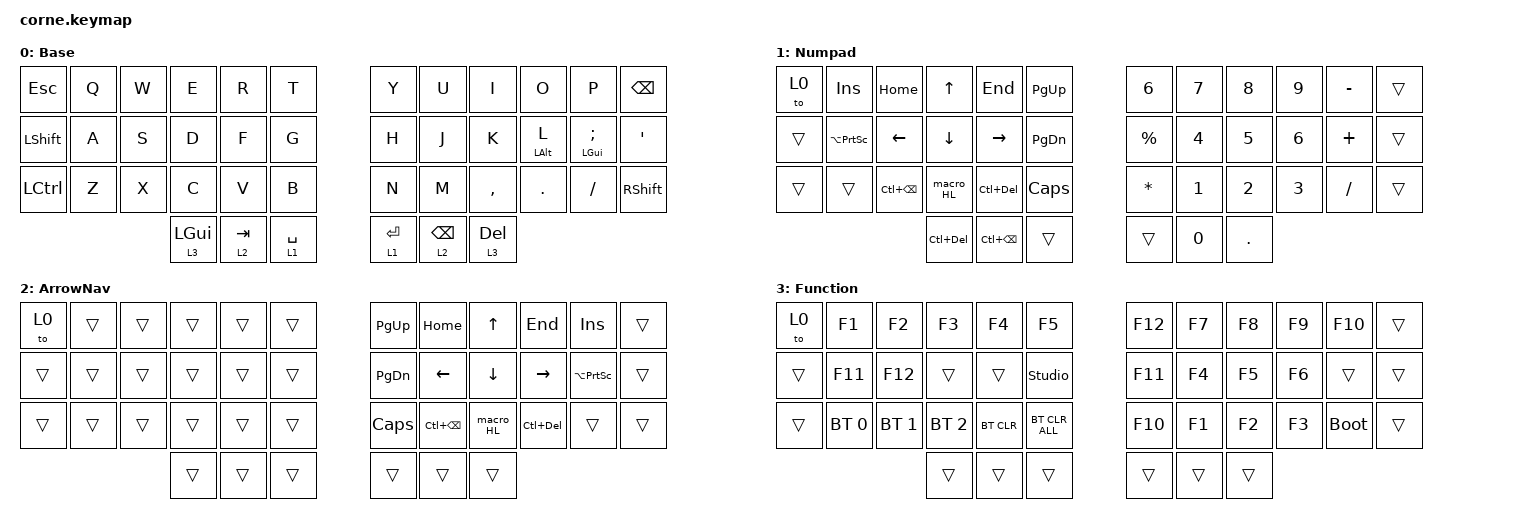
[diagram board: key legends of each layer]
#include <behaviors.dtsi>
#include <dt-bindings/zmk/bt.h>
#include <dt-bindings/zmk/keys.h>

#define DEF 0
#define NAV 1
#define SYM 2
#define ADJ 3
#define EXTRA 4

/ {
    behaviors {
        hm: homerow_mods {
            compatible = "zmk,behavior-hold-tap";
            label = "HOMEROW_MODS";
            #binding-cells = <2>;
            tapping-term-ms = <200>;
            quick_tap_ms = <0>;
            flavor = "tap-preferred";
            bindings = <&kp>, <&kp>;

            quick-tap-ms = <180>;
            global-quick-tap;
        };

        para: para {
            compatible = "zmk,behavior-tap-dance";
            label = "PARA";
            #binding-cells = <0>;
            bindings = <&kp LEFT_PARENTHESIS>, <&kp RIGHT_PARENTHESIS>;
        };

        caps: caps {
            compatible = "zmk,behavior-caps-word";
            label = "CAPS";
            #binding-cells = <0>;
            continue-list = <MINUS BACKSPACE>;
        };

        paraless: paraless {
            compatible = "zmk,behavior-mod-morph";
            label = "PARALESS";
            bindings = <&kp LEFT_PARENTHESIS>, <&kp LESS_THAN>;

            #binding-cells = <0>;
            mods = <(MOD_LSFT)>;
        };

        paragreat: paragreat {
            compatible = "zmk,behavior-mod-morph";
            label = "PARAGREAT";
            bindings = <&kp RIGHT_PARENTHESIS>, <&kp GREATER_THAN>;

            #binding-cells = <0>;
            mods = <(MOD_LSFT)>;
        };
    };

    macros {
        macro_HL: macro_highlight_word {
            compatible = "zmk,behavior-macro";
            #binding-cells = <0>;
            bindings = <&kp LC(LEFT) &kp LS(LC(RIGHT))>;
            label = "MACRO_HIGHLIGHT_WORD";
        };
    };

    combos {
        compatible = "zmk,combos";

        /*         perc {
            bindings = <&kp PERCENT>;
            key-positions = <5 17>;
        };

        dollar {
            bindings = <&kp DOLLAR>;
            key-positions = <4 16>;
        };

        pound {
            bindings = <&kp POUND>;
            key-positions = <3 15>;
        };

        at {
            bindings = <&kp AT>;
            key-positions = <2 14>;
        };

        star {
            bindings = <&kp STAR>;
            key-positions = <8 20>;
        };

        slash {
            bindings = <&kp SLASH>;
            key-positions = <32 20>;
        };

        plus {
            bindings = <&kp PLUS>;
            key-positions = <7 19>;
        };

        leftbrack {
            bindings = <&kp LEFT_BRACKET>;
            key-positions = <31 32>;
        };

        rightbrack {
            bindings = <&kp RIGHT_BRACKET>;
            key-positions = <33 32>;
        };

        para-less {
            bindings = <&paraless>;
            key-positions = <20 19>;
        };

        para-great {
            bindings = <&paragreat>;
            key-positions = <20 21>;
        }; */
        // LAYER Chords

        LAYER_numpad {
            bindings = <&tog 1>;
            key-positions = <16 15>;
        };

        LAYER_arrownav {
            bindings = <&tog 2>;
            key-positions = <16 15 14>;
        };

        LAYER_function {
            bindings = <&tog 3>;
            key-positions = <16 15 14 13>;
        };

        /*
START:      Math Chords
*/

        math_equal {
            bindings = <&kp EQUAL>;
            key-positions = <7 8>;
        };

        math_minus {
            bindings = <&kp MINUS>;
            key-positions = <19 20>;
        };

        math_underscore {
            bindings = <&kp UNDER>;
            key-positions = <31 32>;
        };

        math_plus {
            bindings = <&kp PLUS>;
            key-positions = <19 21>;
        };

        /*
END:      Math Chords
*/
        /*
START:      Parentheses Chords
*/

        paren_Lbracket {
            bindings = <&kp LEFT_BRACKET>;
            key-positions = <7 10>;
        };

        paren_Lparenthesis {
            bindings = <&kp LEFT_PARENTHESIS>;
            key-positions = <19 22>;
        };

        paren_Lbrace {
            bindings = <&kp LEFT_BRACE>;
            key-positions = <31 34>;
        };

        paren_Rbracket {
            bindings = <&kp RIGHT_BRACKET>;
            key-positions = <8 11>;
        };

        paren_Rparenthesis {
            bindings = <&kp RIGHT_PARENTHESIS>;
            key-positions = <20 23>;
        };

        paren_Rbrace {
            bindings = <&kp RIGHT_BRACE>;
            key-positions = <32 35>;
        };

        /*
END:      Parentheses Chords
*/
        /*
START:      Symbols Chords
*/

        fslash {
            bindings = <&kp SLASH>;
            key-positions = <31 20>;
        };

        bslash {
            bindings = <&kp BACKSLASH>;
            key-positions = <19 32>;
        };

        caret {
            bindings = <&kp CARET>;
            key-positions = <19 8 21>;
        };

        lthan {
            bindings = <&kp LESS_THAN>;
            key-positions = <19 8 32>;
        };

        gthan {
            bindings = <&kp GREATER_THAN>;
            key-positions = <8 21 32>;
        };

        tilde {
            bindings = <&kp TILDE>;
            key-positions = <20 10>;
        };

        accent {
            bindings = <&kp GRAVE>;
            key-positions = <7 20>;
        };

        percent {
            bindings = <&kp PERCENT>;
            key-positions = <31 9>;
        };

        /*
END:      Symbols Chords
*/
        /*
START:      Inotation Chords
*/

        intonation_exclam {
            bindings = <&kp EXCLAMATION>;
            key-positions = <7 8 21>;
        };

        intonation_question {
            bindings = <&kp QUESTION>;
            key-positions = <19 20 9>;
        };

        intonation_dollar {
            bindings = <&kp DOLLAR>;
            key-positions = <31 32 21>;
        };

        /*
END:      Intonation Chords
*/

        atsign {
            bindings = <&kp AT>;
            key-positions = <20 21 7>;
        };

        asterisk {
            bindings = <&kp ASTERISK>;
            key-positions = <31 33>;
        };

        ampersand {
            bindings = <&kp AMPERSAND>;
            key-positions = <20 19 21 22>;
        };

        hash_pound {
            bindings = <&kp POUND>;
            key-positions = <7 9>;
        };

        enter_return {
            bindings = <&kp ENTER>;
            key-positions = <20 21 19>;
        };

        /*         home {
            bindings = <&kp HOME>;
            key-positions = <7 8 9>;
        };

        end {
            bindings = <&kp END>;
            key-positions = <8 9 10>;
        };

        page_up {
            bindings = <&kp PAGE_UP>;
            key-positions = <18 21>;
        };

        page_down {
            bindings = <&kp PAGE_DOWN>;
            key-positions = <30 33>;
        }; */
        /*
START:      Shortcuts Chords
*/

        cut {
            bindings = <&kp LC(X)>;
            key-positions = <26 28>;
        };

        copy {
            bindings = <&kp LC(C)>;
            key-positions = <26 27>;
        };

        paste {
            bindings = <&kp LC(V)>;
            key-positions = <27 28>;
        };

        snip {
            bindings = <&kp LG(LS(S))>;
            key-positions = <12 13 14>;
        };

        /*
END:      Shortcuts Chords
*/
    };

    //

    keymap {
        compatible = "zmk,keymap";

        Base {
            display-name = "Base";

            // -----------------------------------------------------------------------------------------
            // |  Q  |  W  |  E  |  R  |  T  |   |  Y  |  U   |  I  |  O  |  P  |
            // |  A  |  S  |  D  |  F  |  G  |   |  H  |  J   |  K  |  L  |  ;  |
            // |  Z  |  X  |  C  |  V  |  B  |   |  N  |  M   |  ,  |  .  |  /  |
            // | GUI | CTRL | SHFT | LWR | SPC |   | ENT | RSE  | BKSP | ALT | ESC |

            bindings = <
&kp ESCAPE  &kp Q  &kp W  &kp E       &kp R      &kp T          &kp Y         &kp U            &kp I         &kp O           &kp P          &kp BACKSPACE
&kp LSHFT   &kp A  &kp S  &kp D       &kp F      &kp G          &kp H         &kp J            &kp K         &hm LEFT_ALT L  &hm LGUI SEMI  &kp SQT
&kp LCTRL   &kp Z  &kp X  &kp C       &kp V      &kp B          &kp N         &kp M            &kp COMMA     &kp DOT         &kp FSLH       &kp RSHFT
                          &lt 3 LGUI  &lt 2 TAB  &lt 1 SPACE    &lt 1 RETURN  &lt 2 BACKSPACE  &lt 3 DELETE
            >;
        };

        Numpad {
            display-name = "Numpad";

            // -----------------------------------------------------------------------------------------
            // |  TAB |  1  |  2  |  3  |  4  |  5  |   |  6  |  7  |  8  |  9  |  0  | BKSP |
            // | BTCLR| BT1 | BT2 | BT3 | BT4 | BT5 |   | LFT | DWN |  UP | RGT |     |      |
            // | SHFT |     |     |     |     |     |   |     |     |     |     |     |      |
            // | GUI | CTRL | SHFT | LWR | SPC |   | ENT | RSE  | BKSP | ALT | ESC |

            bindings = <
&to 0   &kp INSERT           &kp HOME           &kp UP_ARROW    &kp END            &kp PAGE_UP      &kp N6        &kp N7  &kp N8      &kp N9  &kp MINUS  &trans
&trans  &kp LA(PRINTSCREEN)  &kp LEFT_ARROW     &kp DOWN_ARROW  &kp RIGHT_ARROW    &kp PAGE_DOWN    &kp PERCENT   &kp N4  &kp N5      &kp N6  &kp PLUS   &trans
&trans  &trans               &kp LC(BACKSPACE)  &macro_HL       &kp LC(DELETE)     &kp CAPS         &kp ASTERISK  &kp N1  &kp N2      &kp N3  &kp SLASH  &trans
                                                &kp LC(DELETE)  &kp LC(BACKSPACE)  &trans           &trans        &kp N0  &kp PERIOD
            >;
        };

        ArrowNav {
            bindings = <
&to 0   &trans  &trans  &trans  &trans  &trans    &kp PAGE_UP    &kp HOME           &kp UP_ARROW  &kp END      &kp INSERT           &trans
&trans  &trans  &trans  &trans  &trans  &trans    &kp PAGE_DOWN  &kp LEFT           &kp DOWN      &kp RIGHT    &kp LA(PRINTSCREEN)  &trans
&trans  &trans  &trans  &trans  &trans  &trans    &kp CAPS       &kp LC(BACKSPACE)  &macro_HL     &kp LC(DEL)  &trans               &trans
                        &trans  &trans  &trans    &trans         &trans             &trans
            >;

            label = "ArrowNav";
        };

        Function {
            display-name = "Function";
            bindings = <
&to 0   &kp F1        &kp F2        &kp F3        &kp F4      &kp F5            &kp F12  &kp F7  &kp F8  &kp F9  &kp F10      &trans
&trans  &kp F11       &kp F12       &trans        &trans      &studio_unlock    &kp F11  &kp F4  &kp F5  &kp F6  &trans       &trans
&trans  &bt BT_SEL 0  &bt BT_SEL 1  &bt BT_SEL 2  &bt BT_CLR  &bt BT_CLR_ALL    &kp F10  &kp F1  &kp F2  &kp F3  &bootloader  &trans
                                    &trans        &trans      &trans            &trans   &trans  &trans
            >;
        };

        /*
        SYM {
            display-name = "Symbols";

            // -----------------------------------------------------------------------------------------
            // |  TAB |  !  |  @  |  #  |  $  |  %  |   |  ^  |  &  |  *  |  (  |  )  | BKSP |
            // | CTRL |     |     |     |     |     |   |  -  |  =  |  [  |  ]  |  \  |  `   |
            // | SHFT |     |     |     |     |     |   |  _  |  +  |  {  |  }  | "|" |  ~   |
            //                    | GUI |     | SPC |   | ENT |     | ALT |

            bindings = <
&to 0   &kp EXCL  &kp AT          &kp HASH               &kp DLLR         &kp PRCNT    &kp CARET  &kp AMPS   &kp ASTRK              &kp LEFT_PARENTHESIS  &kp RPAR       &trans
&trans  &trans    &kp HOME        &kp UP_ARROW           &kp END          &kp GRAVE    &kp MINUS  &kp EQUAL  &kp LBKT               &kp RBKT              &kp PIPE       &trans
&trans  &trans    &kp LEFT_ARROW  &kp DOWN_ARROW         &kp RIGHT_ARROW  &kp TILDE    &kp UNDER  &kp PLUS   &kp LBRC               &kp RBRC              &kp BACKSLASH  &trans
                                  &macro_highlight_word  &trans           &trans       &trans     &trans     &macro_highlight_word
            >;
        };
*/
    };

    conditional_layers { compatible = "zmk,conditional-layers"; };
};
